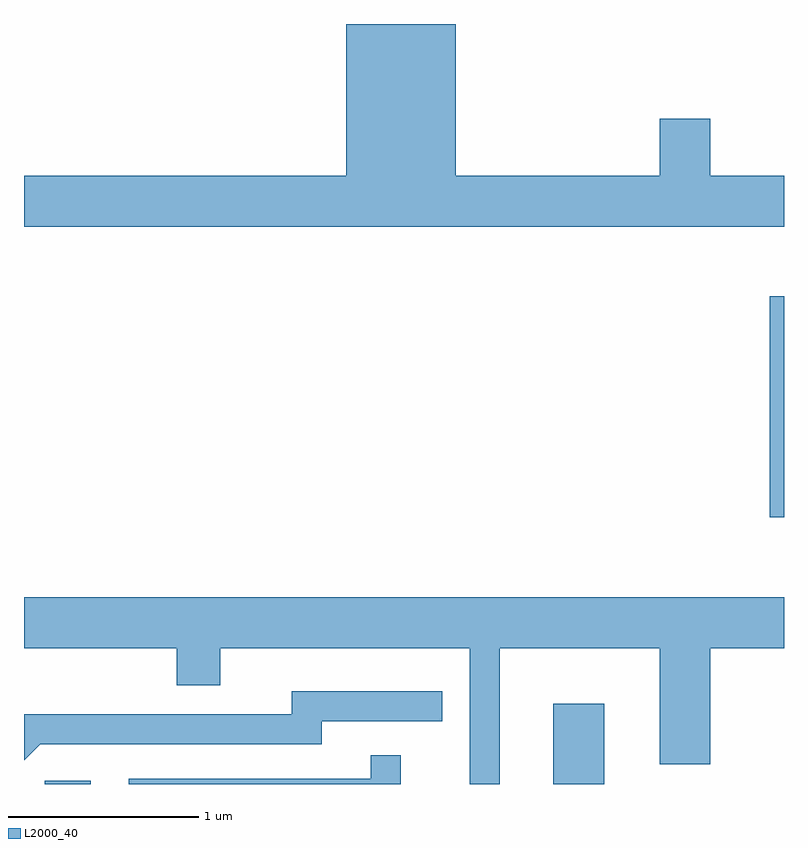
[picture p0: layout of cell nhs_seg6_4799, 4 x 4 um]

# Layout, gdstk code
import gdstk
lib = gdstk.Library(unit=1e-6, precision=1e-09)
def R(c, l, rs):  # rectangles x0, y0, x1, y1
    for r in rs: c.add(gdstk.rectangle(r[:2], r[2:], *l))
def P(c, l, *ps):  # polygons
    for p in ps: c.add(gdstk.Polygon(p, *l))
L2000_40 = (2000, 40)

nhs_seg6_4799 = lib.new_cell('nhs_seg6_4799')
R(nhs_seg6_4799, L2000_40, [(331.721,1598.162,331.963,1598.179), (334.396,1598.162,334.664,1598.584), (335.536,1599.566,335.611,1600.729)])
P(nhs_seg6_4799, L2000_40, [(335.611,1601.364),(335.224,1601.364),(335.224,1601.664),(334.956,1601.664),(334.956,1601.364),(333.884,1601.364),(333.884,1602.162),(333.306,1602.162),(333.306,1601.364),(331.611,1601.364),(331.611,1601.096),(335.611,1601.096)],
  [(334.114,1598.876),(334.956,1598.876),(334.956,1598.266),(335.224,1598.266),(335.224,1598.876),(335.611,1598.876),(335.611,1599.144),(331.611,1599.144),(331.611,1598.876),(332.416,1598.876),(332.416,1598.681),(332.644,1598.681),(332.644,1598.876),(333.956,1598.876),(333.956,1598.162),(334.114,1598.162)],
  [(331.697,1598.371),(333.179,1598.371),(333.179,1598.491),(333.813,1598.491),(333.813,1598.649),(333.021,1598.649),(333.021,1598.529),(331.611,1598.529),(331.611,1598.286)],
  [(333.594,1598.313),(333.436,1598.313),(333.436,1598.189),(332.163,1598.189),(332.163,1598.162),(333.594,1598.162)])

lib.write_gds('nhs_seg6_4799.gds')
